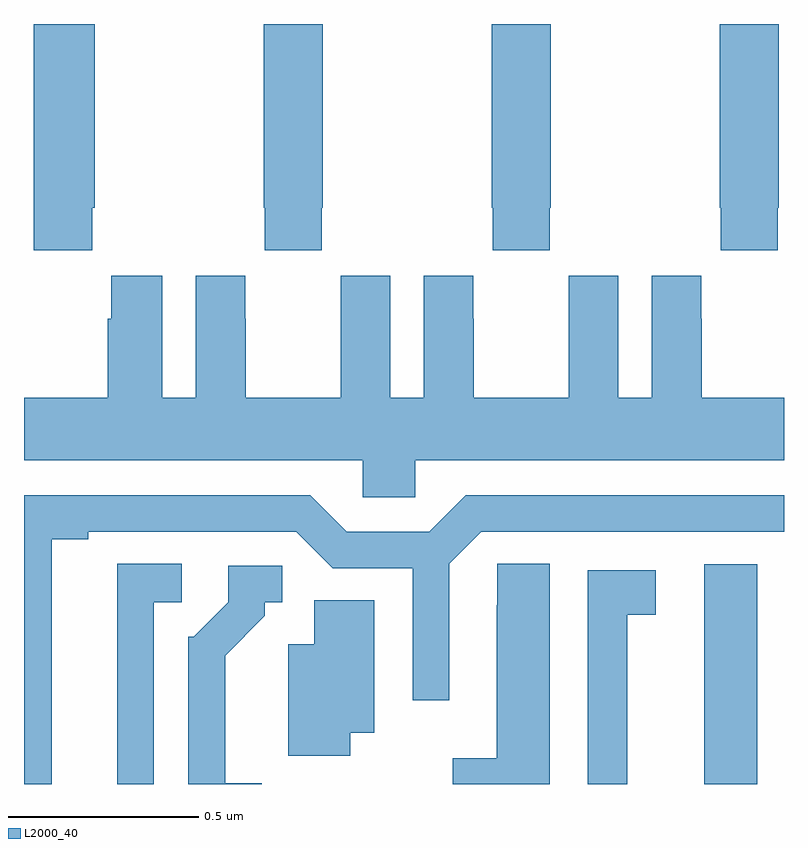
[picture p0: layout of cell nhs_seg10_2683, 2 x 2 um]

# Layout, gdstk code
import gdstk
lib = gdstk.Library(unit=1e-6, precision=1e-09)
def R(c, l, rs):  # rectangles x0, y0, x1, y1
    for r in rs: c.add(gdstk.rectangle(r[:2], r[2:], *l))
def P(c, l, *ps):  # polygons
    for p in ps: c.add(gdstk.Polygon(p, *l))
L2000_40 = (2000, 40)

nhs_seg10_2683 = lib.new_cell('nhs_seg10_2683')
R(nhs_seg10_2683, L2000_40, [(145.79,1263.5,145.93,1264.078)])
P(nhs_seg10_2683, L2000_40, [(144.179,1265.017),(144.186,1265.017),(144.186,1265.5),(144.026,1265.5),(144.026,1264.905),(144.179,1264.905)],
  [(144.783,1265.017),(144.786,1265.017),(144.786,1265.5),(144.631,1265.5),(144.631,1265.017),(144.633,1265.017),(144.633,1264.905),(144.783,1264.905)],
  [(145.383,1265.017),(145.386,1265.017),(145.386,1265.5),(145.231,1265.5),(145.231,1265.017),(145.233,1265.017),(145.233,1264.905),(145.383,1264.905)],
  [(145.983,1265.017),(145.986,1265.017),(145.986,1265.5),(145.831,1265.5),(145.831,1265.017),(145.833,1265.017),(145.833,1264.905),(145.983,1264.905)],
  [(145.029,1264.352),(146,1264.352),(146,1264.516),(145.783,1264.516),(145.783,1264.724),(145.782,1264.724),(145.782,1264.837),(145.652,1264.837),(145.652,1264.516),(145.564,1264.516),(145.564,1264.837),(145.434,1264.837),(145.434,1264.724),(145.433,1264.724),(145.433,1264.516),(145.183,1264.516),(145.183,1264.724),(145.182,1264.724),(145.182,1264.837),(145.052,1264.837),(145.052,1264.516),(144.964,1264.516),(144.964,1264.837),(144.834,1264.837),(144.834,1264.724),(144.833,1264.724),(144.833,1264.516),(144.583,1264.516),(144.583,1264.724),(144.582,1264.724),(144.582,1264.837),(144.452,1264.837),(144.452,1264.516),(144.364,1264.516),(144.364,1264.837),(144.23,1264.837),(144.23,1264.724),(144.221,1264.724),(144.221,1264.516),(144,1264.516),(144,1264.352),(144.891,1264.352),(144.891,1264.254),(145.029,1264.254)],
  [(144.073,1264.144),(144.169,1264.144),(144.169,1264.164),(144.717,1264.164),(144.813,1264.068),(145.023,1264.068),(145.023,1263.72),(145.119,1263.72),(145.119,1264.08),(145.203,1264.164),(146,1264.164),(146,1264.26),(145.163,1264.26),(145.067,1264.164),(144.849,1264.164),(144.753,1264.26),(144,1264.26),(144,1263.5),(144.073,1263.5)],
  [(144.342,1263.978),(144.415,1263.978),(144.415,1264.079),(144.245,1264.079),(144.245,1263.5),(144.342,1263.5)],
  [(145.384,1264.079),(145.245,1264.079),(145.245,1263.971),(145.244,1263.971),(145.244,1263.568),(145.128,1263.568),(145.128,1263.5),(145.384,1263.5)],
  [(144.625,1263.502),(144.529,1263.502),(144.529,1263.838),(144.634,1263.943),(144.634,1263.978),(144.679,1263.978),(144.679,1264.074),(144.537,1264.074),(144.537,1263.978),(144.447,1263.888),(144.432,1263.888),(144.432,1263.5),(144.625,1263.5)],
  [(145.588,1263.946),(145.663,1263.946),(145.663,1264.062),(145.484,1264.062),(145.484,1263.5),(145.588,1263.5)],
  [(144.859,1263.635),(144.922,1263.635),(144.922,1263.983),(144.764,1263.983),(144.764,1263.868),(144.695,1263.868),(144.695,1263.574),(144.859,1263.574)])

lib.write_gds('nhs_seg10_2683.gds')
